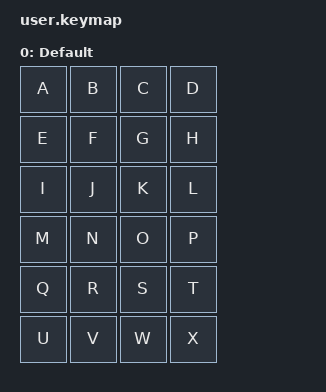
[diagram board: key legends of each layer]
/* SPDX-License-Identifier: MIT */

/ {
    keymap {
        compatible = "zmk,keymap";

        default_layer {
            label = "Default";
            bindings = <
                &kp A &kp B &kp C &kp D
                &kp E &kp F &kp G &kp H
                &kp I &kp J &kp K &kp L
                &kp M &kp N &kp O &kp P
                &kp Q &kp R &kp S &kp T
                &kp U &kp V &kp W &kp X
            >;
        };
    };
};
